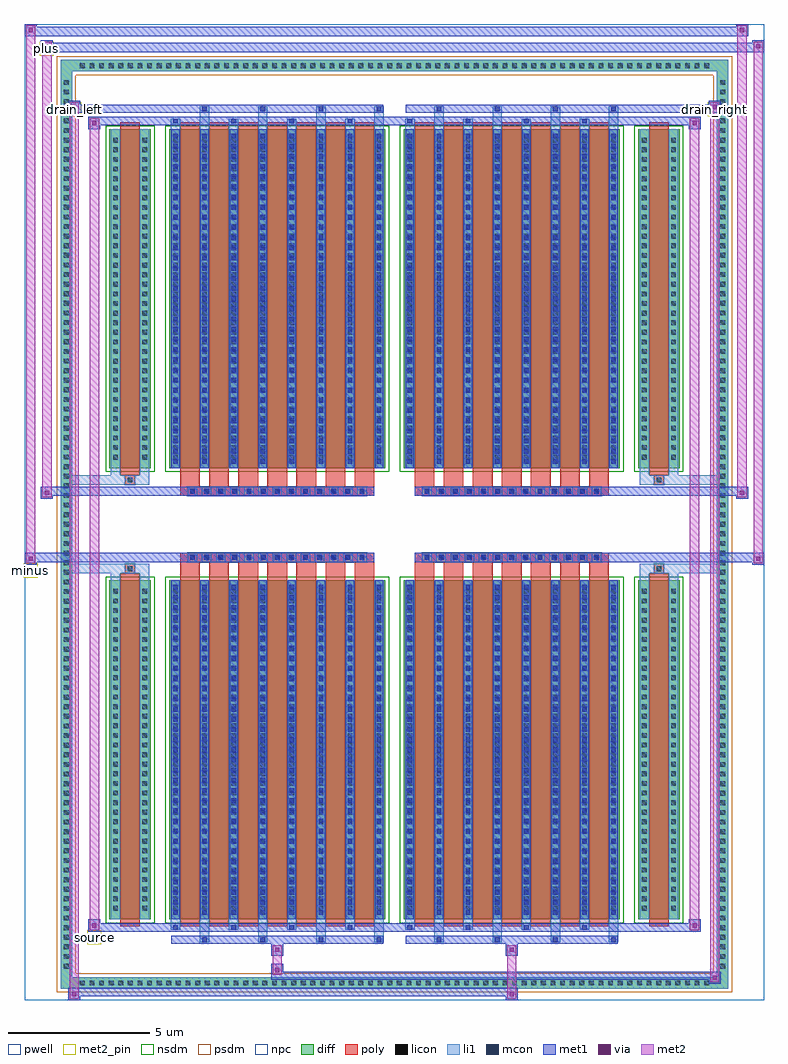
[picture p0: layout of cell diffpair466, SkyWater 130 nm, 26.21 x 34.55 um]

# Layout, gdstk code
import gdstk
lib = gdstk.Library(unit=1e-6, precision=5e-09)
def R(c, l, rs):  # rectangles x0, y0, x1, y1
    for r in rs: c.add(gdstk.rectangle(r[:2], r[2:], *l))
def A(c, l, x, y, w, h, nx, ny, dx, dy):  # array of equal rectangles
    R(c, l, [(x+i*dx, y+j*dy, x+i*dx+w, y+j*dy+h) for i in range(nx) for j in range(ny)])
def P(c, l, *ps):  # polygons
    for p in ps: c.add(gdstk.Polygon(p, *l))
pwell = (64, 44)
diff = (65, 20)
poly = (66, 20)
licon = (66, 44)
li1 = (67, 20)
mcon = (67, 44)
met1 = (68, 20)
via = (68, 44)
met2_pin = (69, 16)
met2 = (69, 20)
nsdm = (93, 44)
psdm = (94, 20)
npc = (95, 20)

diffpair466 = lib.new_cell('diffpair466')
R(diffpair466, pwell, [(-13.09,-16.84,13.09,17.71), (-10.41,-15.03,-0.01,-0.805), (0.01,-15.03,10.41,-0.805), (-10.41,0.805,-0.01,15.03), (0.01,0.805,10.41,15.03)])
A(diffpair466, diff, -11.255, -16.44, 0.41, 0.41, 66, 2, 0.34, 32.47)
A(diffpair466, diff, -11.82, -15.845, 0.41, 0.41, 1, 93, 0, 0.34)
A(diffpair466, diff, 11.41, -15.845, 0.41, 0.41, 1, 93, 0, 0.34)
R(diffpair466, diff, [(-11.255,-16.44,11.255,-16.03), (-11.82,-15.845,-11.41,15.845), (11.41,-15.845,11.82,15.845), (-10.1,-13.985,-8.62,-1.985), (-7.98,-13.985,-0.32,-1.985), (0.32,-13.985,7.98,-1.985), (8.62,-13.985,10.1,-1.985), (-10.1,1.985,-8.62,13.985), (-7.98,1.985,-0.32,13.985), (0.32,1.985,7.98,13.985), (8.62,1.985,10.1,13.985), (-11.255,16.03,11.255,16.44)])
P(diffpair466, diff, [(11.82,16.44),(-11.82,16.44),(-11.82,-16.03),(-11.41,-16.03),(-11.41,16.03),(11.41,16.03),(11.41,-16.03),(-11.41,-16.03),(-11.82,-16.03),(-11.82,-16.44),(11.82,-16.44)])
A(diffpair466, poly, -7.59, -14.235, 0.7, 12.5, 7, 2, 1.03, 15.97)
A(diffpair466, poly, 0.71, -14.235, 0.7, 12.5, 7, 2, 1.03, 15.97)
A(diffpair466, poly, -7.59, -1.735, 0.7, 0.4, 7, 2, 1.03, 3.07)
A(diffpair466, poly, 0.71, -1.735, 0.7, 0.4, 7, 2, 1.03, 3.07)
A(diffpair466, poly, -7.315, -1.335, 0.33, 0.33, 13, 2, 0.5, 2.34)
A(diffpair466, poly, 0.985, -1.335, 0.33, 0.33, 13, 2, 0.5, 2.34)
R(diffpair466, poly, [(-9.71,-14.235,-9.01,-1.735), (9.01,-14.235,9.71,-1.735), (-9.525,-1.735,-9.195,-1.405), (-9.525,-1.735,-9.195,-1.405), (9.195,-1.735,9.525,-1.405), (9.195,-1.735,9.525,-1.405), (-7.59,-1.335,-0.71,-1.005), (0.71,-1.335,7.59,-1.005), (-7.59,1.005,-0.71,1.335), (0.71,1.005,7.59,1.335), (-9.525,1.405,-9.195,1.735), (-9.525,1.405,-9.195,1.735), (9.195,1.405,9.525,1.735), (9.195,1.405,9.525,1.735), (-9.71,1.735,-9.01,14.235), (9.01,1.735,9.71,14.235)])
A(diffpair466, licon, -11.135, -16.32, 0.17, 0.17, 66, 2, 0.34, 32.47)
A(diffpair466, licon, -11.7, -15.725, 0.17, 0.17, 1, 93, 0, 0.34)
A(diffpair466, licon, 11.53, -15.725, 0.17, 0.17, 1, 93, 0, 0.34)
A(diffpair466, licon, -9.96, -13.68, 0.17, 0.17, 1, 34, 0, 0.34)
A(diffpair466, licon, -8.93, -13.68, 0.17, 0.17, 1, 34, 0, 0.34)
A(diffpair466, licon, -7.84, -13.68, 0.17, 0.17, 8, 34, 1.03, 0.34)
A(diffpair466, licon, 0.46, -13.68, 0.17, 0.17, 8, 34, 1.03, 0.34)
A(diffpair466, licon, 8.76, -13.68, 0.17, 0.17, 1, 34, 0, 0.34)
A(diffpair466, licon, 9.79, -13.68, 0.17, 0.17, 1, 34, 0, 0.34)
A(diffpair466, licon, -7.235, -1.255, 0.17, 0.17, 13, 2, 0.5, 2.34)
A(diffpair466, licon, 1.065, -1.255, 0.17, 0.17, 13, 2, 0.5, 2.34)
A(diffpair466, licon, -9.96, 2.29, 0.17, 0.17, 1, 34, 0, 0.34)
A(diffpair466, licon, -8.93, 2.29, 0.17, 0.17, 1, 34, 0, 0.34)
A(diffpair466, licon, -7.84, 2.29, 0.17, 0.17, 8, 34, 1.03, 0.34)
A(diffpair466, licon, 0.46, 2.29, 0.17, 0.17, 8, 34, 1.03, 0.34)
A(diffpair466, licon, 8.76, 2.29, 0.17, 0.17, 1, 34, 0, 0.34)
A(diffpair466, licon, 9.79, 2.29, 0.17, 0.17, 1, 34, 0, 0.34)
R(diffpair466, licon, [(-9.445,-1.655,-9.275,-1.485), (9.275,-1.655,9.445,-1.485), (-9.445,1.485,-9.275,1.655), (9.275,1.485,9.445,1.655)])
A(diffpair466, li1, -11.215, -16.4, 0.33, 0.33, 66, 2, 0.34, 32.47)
A(diffpair466, li1, -11.78, -15.805, 0.33, 0.33, 1, 93, 0, 0.34)
A(diffpair466, li1, 11.45, -15.805, 0.33, 0.33, 1, 93, 0, 0.34)
A(diffpair466, li1, -6.89, -14.79, 0.33, 0.805, 4, 2, 2.06, 28.775)
A(diffpair466, li1, -6.81, -14.79, 0.17, 0.17, 4, 2, 2.06, 29.41)
A(diffpair466, li1, 1.41, -14.79, 0.33, 0.805, 4, 2, 2.06, 28.775)
A(diffpair466, li1, 1.49, -14.79, 0.17, 0.17, 4, 2, 2.06, 29.41)
A(diffpair466, li1, -7.92, -14.36, 0.33, 0.375, 4, 2, 2.06, 28.345)
A(diffpair466, li1, -7.84, -14.36, 0.17, 0.17, 4, 2, 2.06, 28.55)
A(diffpair466, li1, 0.38, -14.36, 0.33, 0.375, 4, 2, 2.06, 28.345)
A(diffpair466, li1, 0.46, -14.36, 0.17, 0.17, 4, 2, 2.06, 28.55)
A(diffpair466, li1, -7.92, -13.985, 0.33, 12, 8, 2, 1.03, 15.97)
A(diffpair466, li1, 0.38, -13.985, 0.33, 12, 8, 2, 1.03, 15.97)
A(diffpair466, li1, -7.84, -13.83, 0.17, 0.17, 8, 33, 1.03, 0.36)
A(diffpair466, li1, -7.84, -13.83, 0.17, 11.69, 8, 2, 1.03, 15.97)
A(diffpair466, li1, 0.46, -13.83, 0.17, 0.17, 8, 33, 1.03, 0.36)
A(diffpair466, li1, 0.46, -13.83, 0.17, 11.69, 8, 2, 1.03, 15.97)
A(diffpair466, li1, -10.04, -13.76, 0.33, 0.33, 1, 34, 0, 0.34)
A(diffpair466, li1, -9.01, -13.76, 0.33, 0.33, 1, 34, 0, 0.34)
A(diffpair466, li1, -7.92, -13.76, 0.33, 0.33, 8, 34, 1.03, 0.34)
A(diffpair466, li1, 0.38, -13.76, 0.33, 0.33, 8, 34, 1.03, 0.34)
A(diffpair466, li1, 8.68, -13.76, 0.33, 0.33, 1, 34, 0, 0.34)
A(diffpair466, li1, 9.71, -13.76, 0.33, 0.33, 1, 34, 0, 0.34)
A(diffpair466, li1, -7.315, -1.335, 0.33, 0.33, 13, 2, 0.5, 2.34)
A(diffpair466, li1, 0.985, -1.335, 0.33, 0.33, 13, 2, 0.5, 2.34)
A(diffpair466, li1, -7.84, 2.14, 0.17, 0.17, 8, 33, 1.03, 0.36)
A(diffpair466, li1, 0.46, 2.14, 0.17, 0.17, 8, 33, 1.03, 0.36)
A(diffpair466, li1, -10.04, 2.21, 0.33, 0.33, 1, 34, 0, 0.34)
A(diffpair466, li1, -9.01, 2.21, 0.33, 0.33, 1, 34, 0, 0.34)
A(diffpair466, li1, -7.92, 2.21, 0.33, 0.33, 8, 34, 1.03, 0.34)
A(diffpair466, li1, 0.38, 2.21, 0.33, 0.33, 8, 34, 1.03, 0.34)
A(diffpair466, li1, 8.68, 2.21, 0.33, 0.33, 1, 34, 0, 0.34)
A(diffpair466, li1, 9.71, 2.21, 0.33, 0.33, 1, 34, 0, 0.34)
R(diffpair466, li1, [(-11.82,-16.44,-11.41,-16.03), (-11.82,-16.44,-11.41,-16.03), (-11.41,-16.44,11.41,-16.03), (11.41,-16.44,11.82,-16.03), (11.41,-16.44,11.82,-16.03), (-11.82,-16.03,-11.41,16.03), (11.41,-16.03,11.82,16.03), (-10.04,-13.985,-9.71,-1.985), (-9.01,-13.985,-8.68,-1.985), (8.68,-13.985,9.01,-1.985), (9.71,-13.985,10.04,-1.985), (-10.04,-1.985,-9.71,-1.405), (-9.01,-1.985,-8.68,-1.405), (8.68,-1.985,9.01,-1.405), (9.71,-1.985,10.04,-1.405), (-11.82,-1.735,-9.525,-1.405), (-10.04,-1.735,-9.525,-1.405), (-9.525,-1.735,-9.195,-1.405), (-9.195,-1.735,-8.68,-1.405), (8.68,-1.735,9.195,-1.405), (9.195,-1.735,9.525,-1.405), (9.195,-1.735,11.82,-1.405), (9.525,-1.735,10.04,-1.405), (-11.82,1.405,-9.525,1.735), (-10.04,1.405,-9.525,1.735), (-10.04,1.405,-9.71,1.985), (-9.525,1.405,-9.195,1.735), (-9.195,1.405,-8.68,1.735), (-9.01,1.405,-8.68,1.985), (8.68,1.405,9.195,1.735), (8.68,1.405,9.01,1.985), (9.195,1.405,9.525,1.735), (9.195,1.405,11.82,1.735), (9.525,1.405,10.04,1.735), (9.71,1.405,10.04,1.985), (-10.04,1.985,-9.71,13.985), (-9.01,1.985,-8.68,13.985), (8.68,1.985,9.01,13.985), (9.71,1.985,10.04,13.985), (-11.82,16.03,-11.41,16.44), (-11.82,16.03,-11.41,16.44), (-11.41,16.03,11.41,16.44), (11.41,16.03,11.82,16.44), (11.41,16.03,11.82,16.44)])
A(diffpair466, mcon, -6.81, -14.79, 0.17, 0.17, 4, 2, 2.06, 29.41)
A(diffpair466, mcon, 1.49, -14.79, 0.17, 0.17, 4, 2, 2.06, 29.41)
A(diffpair466, mcon, -7.84, -14.36, 0.17, 0.17, 4, 2, 2.06, 28.55)
A(diffpair466, mcon, 0.46, -14.36, 0.17, 0.17, 4, 2, 2.06, 28.55)
A(diffpair466, mcon, -7.84, -13.83, 0.17, 0.17, 8, 33, 1.03, 0.36)
A(diffpair466, mcon, 0.46, -13.83, 0.17, 0.17, 8, 33, 1.03, 0.36)
A(diffpair466, mcon, -7.235, -1.255, 0.17, 0.17, 13, 2, 0.5, 2.34)
A(diffpair466, mcon, 1.065, -1.255, 0.17, 0.17, 13, 2, 0.5, 2.34)
A(diffpair466, mcon, -7.84, 2.14, 0.17, 0.17, 8, 33, 1.03, 0.36)
A(diffpair466, mcon, 0.46, 2.14, 0.17, 0.17, 8, 33, 1.03, 0.36)
A(diffpair466, met1, -6.87, -14.85, 0.29, 0.29, 4, 2, 2.06, 29.41)
A(diffpair466, met1, 1.43, -14.85, 0.29, 0.29, 4, 2, 2.06, 29.41)
A(diffpair466, met1, -7.9, -14.42, 0.29, 0.29, 4, 2, 2.06, 28.55)
A(diffpair466, met1, 0.4, -14.42, 0.29, 0.29, 4, 2, 2.06, 28.55)
A(diffpair466, met1, -7.9, -13.985, 0.29, 12, 8, 2, 1.03, 15.97)
A(diffpair466, met1, 0.4, -13.985, 0.29, 12, 8, 2, 1.03, 15.97)
A(diffpair466, met1, -7.9, -13.89, 0.29, 0.29, 8, 33, 1.03, 0.36)
A(diffpair466, met1, 0.4, -13.89, 0.29, 0.29, 8, 33, 1.03, 0.36)
A(diffpair466, met1, -7.295, -1.315, 0.29, 0.29, 13, 2, 0.5, 2.34)
A(diffpair466, met1, 1.005, -1.315, 0.29, 0.29, 13, 2, 0.5, 2.34)
A(diffpair466, met1, -7.9, 2.08, 0.29, 0.29, 8, 33, 1.03, 0.36)
A(diffpair466, met1, 0.4, 2.08, 0.29, 0.29, 8, 33, 1.03, 0.36)
R(diffpair466, met1, [(-11.55,-16.84,-11.12,-16.41), (3.935,-16.84,4.365,-16.41), (-11.55,-16.7,4.365,-16.41), (11.12,-16.27,11.55,-15.84), (-4.365,-16.13,11.55,-15.84), (-4.365,-15.99,-3.935,-15.56), (-4.365,-15.28,-3.935,-14.85), (3.935,-15.28,4.365,-14.85), (-7.9,-14.85,-0.4,-14.56), (0.4,-14.85,7.9,-14.56), (-10.84,-14.42,-10.41,-13.99), (-10.84,-14.42,-7.9,-14.13), (-7.9,-14.42,-0.4,-14.13), (-0.4,-14.42,0.4,-14.13), (0.4,-14.42,7.9,-14.13), (7.9,-14.42,10.84,-14.13), (10.41,-14.42,10.84,-13.99), (-13.09,-1.435,-12.66,-1.005), (12.66,-1.435,13.09,-1.005), (-13.09,-1.335,-0.71,-1.005), (-7.59,-1.335,-0.71,-1.005), (0.71,-1.335,7.59,-1.005), (0.71,-1.335,13.09,-1.005), (-12.52,0.905,-12.09,1.335), (12.09,0.905,12.52,1.335), (-12.52,1.005,-7.59,1.335), (-7.59,1.005,-0.71,1.335), (0.71,1.005,7.59,1.335), (7.59,1.005,12.52,1.335), (-10.84,13.99,-10.41,14.42), (10.41,13.99,10.84,14.42), (-10.84,14.13,-7.9,14.42), (-7.9,14.13,-0.4,14.42), (-0.4,14.13,0.4,14.42), (0.4,14.13,7.9,14.42), (7.9,14.13,10.84,14.42), (-11.55,14.56,-11.12,14.99), (-11.55,14.56,-7.9,14.85), (-7.9,14.56,-0.4,14.85), (0.4,14.56,7.9,14.85), (7.9,14.56,11.55,14.85), (11.12,14.56,11.55,14.99), (-12.52,16.71,-12.09,17.14), (-12.52,16.71,-10.41,17.04), (-10.41,16.71,10.41,17.04), (10.41,16.71,13.09,17.04), (12.66,16.71,13.09,17.14), (-13.09,17.28,-12.66,17.71), (-13.09,17.28,-10.41,17.61), (-10.41,17.28,10.41,17.61), (10.41,17.28,12.52,17.61), (12.09,17.28,12.52,17.71)])
R(diffpair466, via, [(-11.41,-16.7,-11.26,-16.55), (4.075,-16.7,4.225,-16.55), (11.26,-16.13,11.41,-15.98), (-4.225,-15.85,-4.075,-15.7), (-4.225,-15.14,-4.075,-14.99), (4.075,-15.14,4.225,-14.99), (-10.7,-14.28,-10.55,-14.13), (10.55,-14.28,10.7,-14.13), (-12.95,-1.295,-12.8,-1.145), (12.8,-1.295,12.95,-1.145), (-12.38,1.045,-12.23,1.195), (12.23,1.045,12.38,1.195), (-10.7,14.13,-10.55,14.28), (10.55,14.13,10.7,14.28), (-11.41,14.7,-11.26,14.85), (11.26,14.7,11.41,14.85), (-12.38,16.85,-12.23,17), (12.8,16.85,12.95,17), (-12.95,17.42,-12.8,17.57), (12.23,17.42,12.38,17.57)])
R(diffpair466, met2_pin, [(-10.875,-14.87,-10.375,-14.37), (-13.125,-1.885,-12.625,-1.385), (-11.585,14.44,-11.085,14.94), (11.085,14.44,11.585,14.94), (-12.555,16.59,-12.055,17.09)])
R(diffpair466, met2, [(-11.5,-16.79,-11.17,-16.46), (-11.5,-16.79,-11.17,14.94), (3.985,-16.79,4.315,-16.46), (3.985,-16.46,4.315,-15.23), (11.17,-16.22,11.5,-15.89), (11.17,-16.22,11.5,14.94), (-4.315,-15.94,-3.985,-15.61), (-4.315,-15.61,-3.985,-15.23), (-4.315,-15.23,-3.985,-14.9), (3.985,-15.23,4.315,-14.9), (-10.79,-14.37,-10.46,-14.04), (-10.79,-14.37,-10.46,14.37), (10.46,-14.37,10.79,-14.04), (10.46,-14.37,10.79,14.37), (-13.04,-1.385,-12.71,-1.055), (-13.04,-1.385,-12.71,17.66), (12.71,-1.385,13.04,-1.055), (12.71,-1.385,13.04,17.09), (-12.47,0.955,-12.14,1.285), (-12.47,0.955,-12.14,17.09), (12.14,0.955,12.47,1.285), (12.14,0.955,12.47,17.66), (-10.79,14.04,-10.46,14.37), (10.46,14.04,10.79,14.37), (-11.5,14.61,-11.17,14.94), (11.17,14.61,11.5,14.94), (-12.47,16.76,-12.14,17.09), (12.71,16.76,13.04,17.09), (-13.04,17.33,-12.71,17.66), (12.14,17.33,12.47,17.66)])
P(diffpair466, met2, [(13.04,-1.385),(13.04,-1.385),(13.04,-1.055),(13.04,-1.055)],
  [(13.04,16.76),(13.04,16.76),(13.04,17.09),(13.04,17.09)],
  [(-12.71,-1.385),(-12.71,-1.385),(-12.71,-1.055),(-12.71,-1.055)],
  [(-12.71,17.33),(-12.71,17.33),(-12.71,17.66),(-12.71,17.66)],
  [(12.47,0.955),(12.47,0.955),(12.47,1.285),(12.47,1.285)],
  [(12.47,17.33),(12.47,17.33),(12.47,17.66),(12.47,17.66)],
  [(-12.14,0.955),(-12.14,0.955),(-12.14,1.285),(-12.14,1.285)],
  [(-12.14,16.76),(-12.14,16.76),(-12.14,17.09),(-12.14,17.09)],
  [(-11.17,-16.79),(-11.17,-16.79),(-11.17,-16.46),(-11.17,-16.46)],
  [(-11.17,14.61),(-11.17,14.61),(-11.17,14.94),(-11.17,14.94)],
  [(11.5,-16.22),(11.5,-16.22),(11.5,-15.89),(11.5,-15.89)],
  [(11.5,14.61),(11.5,14.61),(11.5,14.94),(11.5,14.94)],
  [(-10.46,-14.37),(-10.46,-14.37),(-10.46,-14.04),(-10.46,-14.04)],
  [(-10.46,14.04),(-10.46,14.04),(-10.46,14.37),(-10.46,14.37)],
  [(10.79,-14.37),(10.79,-14.37),(10.79,-14.04),(10.79,-14.04)],
  [(10.79,14.04),(10.79,14.04),(10.79,14.37),(10.79,14.37)])
R(diffpair466, nsdm, [(-10.23,-14.115,-8.49,-1.855), (-8.11,-14.115,-0.19,-1.855), (0.19,-14.115,8.11,-1.855), (8.49,-14.115,10.23,-1.855), (-10.23,1.855,-8.49,14.115), (-8.11,1.855,-0.19,14.115), (0.19,1.855,8.11,14.115), (8.49,1.855,10.23,14.115)])
P(diffpair466, psdm, [(11.95,16.57),(-11.95,16.57),(-11.95,-15.9),(-11.28,-15.9),(-11.28,15.9),(11.28,15.9),(11.28,-15.9),(-11.28,-15.9),(-11.95,-15.9),(-11.95,-16.57),(11.95,-16.57)])
A(diffpair466, npc, -7.335, -1.355, 0.37, 0.37, 13, 2, 0.5, 2.34)
A(diffpair466, npc, 0.965, -1.355, 0.37, 0.37, 13, 2, 0.5, 2.34)
R(diffpair466, npc, [(-9.545,-1.755,-9.175,-1.385), (9.175,-1.755,9.545,-1.385), (-7.335,-1.355,-6.465,-0.985), (-7.335,-1.355,-6.465,-0.985), (-6.835,-1.355,-5.965,-0.985), (-6.835,-1.355,-5.965,-0.985), (-6.335,-1.355,-5.465,-0.985), (-6.335,-1.355,-5.465,-0.985), (-5.835,-1.355,-4.965,-0.985), (-5.835,-1.355,-4.965,-0.985), (-5.335,-1.355,-4.465,-0.985), (-5.335,-1.355,-4.465,-0.985), (-4.835,-1.355,-3.965,-0.985), (-4.835,-1.355,-3.965,-0.985), (-4.335,-1.355,-3.465,-0.985), (-4.335,-1.355,-3.465,-0.985), (-3.835,-1.355,-2.965,-0.985), (-3.835,-1.355,-2.965,-0.985), (-3.335,-1.355,-2.465,-0.985), (-3.335,-1.355,-2.465,-0.985), (-2.835,-1.355,-1.965,-0.985), (-2.835,-1.355,-1.965,-0.985), (-2.335,-1.355,-1.465,-0.985), (-2.335,-1.355,-1.465,-0.985), (-1.835,-1.355,-0.965,-0.985), (-1.835,-1.355,-0.965,-0.985), (0.965,-1.355,1.835,-0.985), (0.965,-1.355,1.835,-0.985), (1.465,-1.355,2.335,-0.985), (1.465,-1.355,2.335,-0.985), (1.965,-1.355,2.835,-0.985), (1.965,-1.355,2.835,-0.985), (2.465,-1.355,3.335,-0.985), (2.465,-1.355,3.335,-0.985), (2.965,-1.355,3.835,-0.985), (2.965,-1.355,3.835,-0.985), (3.465,-1.355,4.335,-0.985), (3.465,-1.355,4.335,-0.985), (3.965,-1.355,4.835,-0.985), (3.965,-1.355,4.835,-0.985), (4.465,-1.355,5.335,-0.985), (4.465,-1.355,5.335,-0.985), (4.965,-1.355,5.835,-0.985), (4.965,-1.355,5.835,-0.985), (5.465,-1.355,6.335,-0.985), (5.465,-1.355,6.335,-0.985), (5.965,-1.355,6.835,-0.985), (5.965,-1.355,6.835,-0.985), (6.465,-1.355,7.335,-0.985), (6.465,-1.355,7.335,-0.985), (-7.335,0.985,-6.465,1.355), (-7.335,0.985,-6.465,1.355), (-6.835,0.985,-5.965,1.355), (-6.835,0.985,-5.965,1.355), (-6.335,0.985,-5.465,1.355), (-6.335,0.985,-5.465,1.355), (-5.835,0.985,-4.965,1.355), (-5.835,0.985,-4.965,1.355), (-5.335,0.985,-4.465,1.355), (-5.335,0.985,-4.465,1.355), (-4.835,0.985,-3.965,1.355), (-4.835,0.985,-3.965,1.355), (-4.335,0.985,-3.465,1.355), (-4.335,0.985,-3.465,1.355), (-3.835,0.985,-2.965,1.355), (-3.835,0.985,-2.965,1.355), (-3.335,0.985,-2.465,1.355), (-3.335,0.985,-2.465,1.355), (-2.835,0.985,-1.965,1.355), (-2.835,0.985,-1.965,1.355), (-2.335,0.985,-1.465,1.355), (-2.335,0.985,-1.465,1.355), (-1.835,0.985,-0.965,1.355), (-1.835,0.985,-0.965,1.355), (0.965,0.985,1.835,1.355), (0.965,0.985,1.835,1.355), (1.465,0.985,2.335,1.355), (1.465,0.985,2.335,1.355), (1.965,0.985,2.835,1.355), (1.965,0.985,2.835,1.355), (2.465,0.985,3.335,1.355), (2.465,0.985,3.335,1.355), (2.965,0.985,3.835,1.355), (2.965,0.985,3.835,1.355), (3.465,0.985,4.335,1.355), (3.465,0.985,4.335,1.355), (3.965,0.985,4.835,1.355), (3.965,0.985,4.835,1.355), (4.465,0.985,5.335,1.355), (4.465,0.985,5.335,1.355), (4.965,0.985,5.835,1.355), (4.965,0.985,5.835,1.355), (5.465,0.985,6.335,1.355), (5.465,0.985,6.335,1.355), (5.965,0.985,6.835,1.355), (5.965,0.985,6.835,1.355), (6.465,0.985,7.335,1.355), (6.465,0.985,7.335,1.355), (-9.545,1.385,-9.175,1.755), (9.175,1.385,9.545,1.755)])
diffpair466.add(gdstk.Label('minus', (-12.875,-1.635), layer=69, texttype=5))
diffpair466.add(gdstk.Label('drain_right', (11.335,14.69), layer=69, texttype=5))
diffpair466.add(gdstk.Label('drain_left', (-11.335,14.69), layer=69, texttype=5))
diffpair466.add(gdstk.Label('source', (-10.625,-14.62), layer=69, texttype=5))
diffpair466.add(gdstk.Label('plus', (-12.305,16.84), layer=69, texttype=5))

lib.write_gds('diffpair466.gds')
